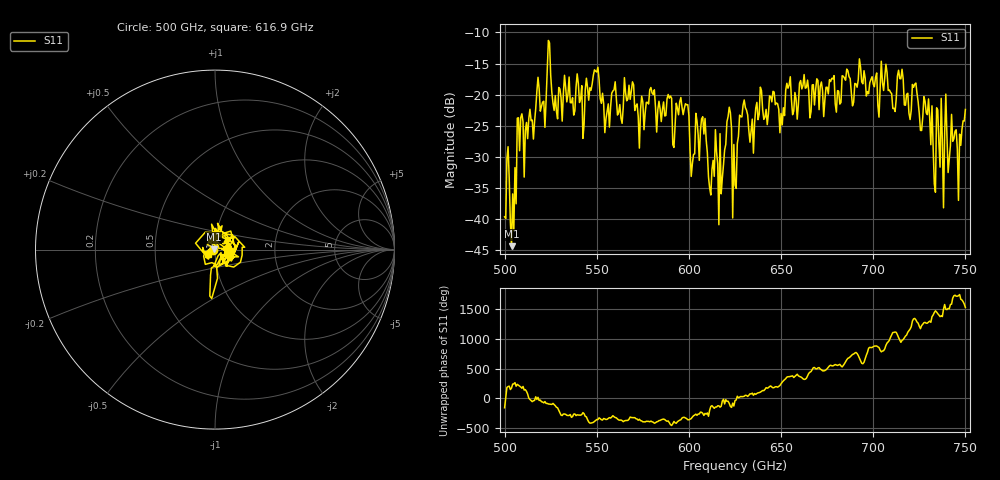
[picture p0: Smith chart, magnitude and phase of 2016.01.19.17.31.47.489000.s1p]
!Created with skrf (http://scikit-rf.org).
# GHz S RI R 50.0
!freq ReS11 ImS11
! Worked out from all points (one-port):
!   401 points, 500 GHz to 750 GHz, reference 50 ohm
!   lowest |S11| = -44.4 dB at 503.8 GHz (marker M1), VSWR 1.01, Z = 49.4 + j0.0678 ohm
!   |S11| at or under -10 dB: start of sweep to end of sweep
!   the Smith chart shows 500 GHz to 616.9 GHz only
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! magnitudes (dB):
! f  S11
! 500 GHz  -39.7
! 503.8 GHz  -44.4
! 508.1 GHz  -29.0
! 521.2 GHz  -21.1
! 524.4 GHz  -11.7
! 527.5 GHz  -20.2
! 531.2 GHz  -24.3
! 541.9 GHz  -18.6
! 549.4 GHz  -16.2
! 562.5 GHz  -21.6
! 593.8 GHz  -22.2
! 598.8 GHz  -21.7
! 601.9 GHz  -31.1
! 608.1 GHz  -26.3
! 611.9 GHz  -36.2
! 617.5 GHz  -36.0
! 621.9 GHz  -22.0
! 625 GHz  -34.6
! 628.8 GHz  -23.6
! 656.2 GHz  -23.2
! 687.5 GHz  -17.4
! 714.4 GHz  -17.4
! 718.8 GHz  -19.8
! 728.8 GHz  -23.0
! 732.5 GHz  -28.5
! 735.6 GHz  -27.8
! 746.9 GHz  -26.4
! 750 GHz  -22.4
